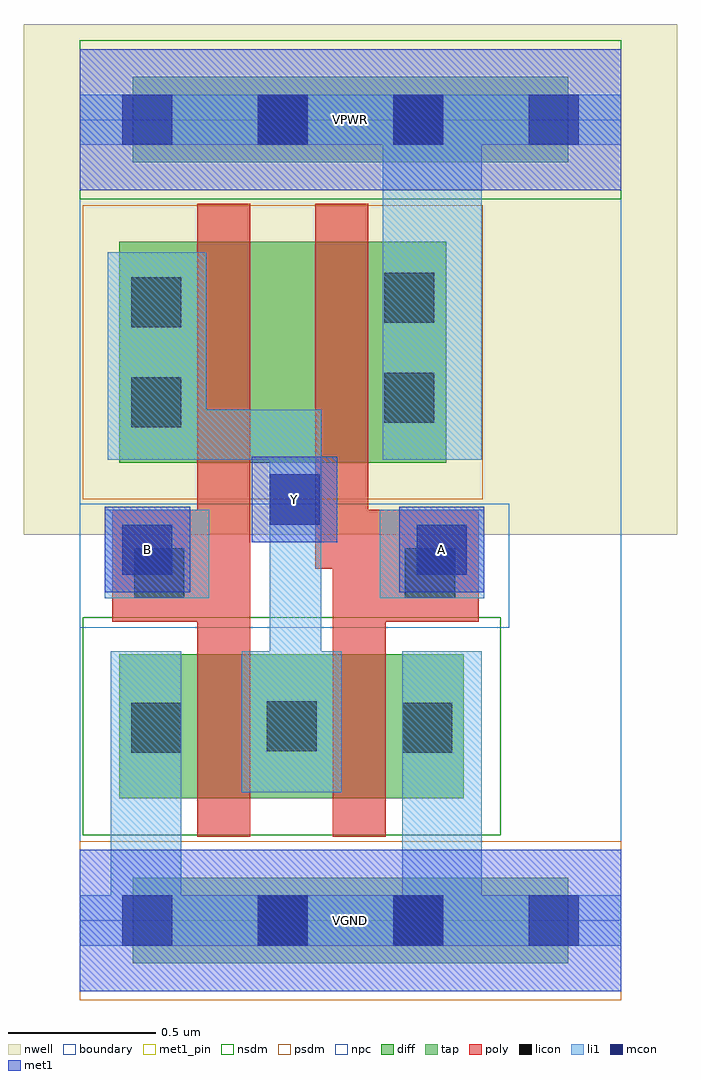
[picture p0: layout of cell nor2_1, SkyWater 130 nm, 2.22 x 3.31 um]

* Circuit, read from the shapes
.subckt nor2_1 A B VGND VPWR Y
XM1 Y B VGND VGND sky130_fd_pr__nfet_01v8 w=0.49 l=0.18
XM2 VGND A Y VGND sky130_fd_pr__nfet_01v8 w=0.49 l=0.18
XM3 n1 B Y VPWR sky130_fd_pr__pfet_01v8 w=0.75 l=0.18
XM4 VPWR A n1 VPWR sky130_fd_pr__pfet_01v8 w=0.75 l=0.18
.ends

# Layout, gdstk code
import gdstk
lib = gdstk.Library(unit=1e-6, precision=1e-09)
def R(c, l, rs):  # rectangles x0, y0, x1, y1
    for r in rs: c.add(gdstk.rectangle(r[:2], r[2:], *l))
def A(c, l, x, y, w, h, nx, ny, dx, dy):  # array of equal rectangles
    R(c, l, [(x+i*dx, y+j*dy, x+i*dx+w, y+j*dy+h) for i in range(nx) for j in range(ny)])
nwell = (64, 20)
diff = (65, 20)
tap = (65, 44)
poly = (66, 20)
licon = (66, 44)
li1 = (67, 20)
mcon = (67, 44)
met1_pin = (68, 16)
met1 = (68, 20)
nsdm = (93, 44)
psdm = (94, 20)
npc = (95, 20)
boundary = (235, 4)

nor2_1 = lib.new_cell('nor2_1')
R(nor2_1, nwell, [(-0.19,1.31,2.03,3.045), (0,1.31,1.84,3.045)])
R(nor2_1, diff, [(0.135,0.415,1.305,0.905), (0.135,1.555,1.245,2.305)])
R(nor2_1, tap, [(0.18,-0.145,1.66,0.145), (0.18,2.575,1.66,2.865)])
R(nor2_1, poly, [(0.4,0.285,0.58,2.435), (0.86,0.285,1.04,1.395), (0.11,1.015,0.58,1.395), (0.86,1.015,1.355,1.395), (0.8,1.195,0.98,2.435)])
R(nor2_1, licon, [(0.605,-0.085,0.775,0.085), (1.065,-0.085,1.235,0.085), (0.175,0.57,0.345,0.74), (1.095,0.57,1.265,0.74), (0.635,0.575,0.805,0.745), (0.185,1.095,0.355,1.265), (1.105,1.095,1.275,1.265), (0.175,1.675,0.345,1.845), (1.035,1.69,1.205,1.86), (0.175,2.015,0.345,2.185), (1.035,2.03,1.205,2.2), (0.605,2.635,0.775,2.805), (1.065,2.635,1.235,2.805)])
R(nor2_1, li1, [(0,-0.085,1.84,0.085), (0.105,-0.085,0.345,0.915), (1.095,-0.085,1.365,0.915), (0.55,0.435,0.89,0.915), (0.645,0.435,0.82,1.735), (0.085,1.095,0.44,1.395), (1.02,1.095,1.375,1.395), (0.095,1.565,0.43,2.27), (0.095,1.565,0.82,1.735), (1.03,1.565,1.365,2.805), (0,2.635,1.84,2.805)])
A(nor2_1, mcon, 0.145, -0.085, 0.17, 0.17, 4, 2, 0.46, 2.72)
R(nor2_1, mcon, [(0.145,1.175,0.315,1.345), (1.145,1.175,1.315,1.345), (0.645,1.345,0.815,1.515)])
R(nor2_1, met1_pin, [(0,-0.24,1.84,0.24), (0.085,1.115,0.375,1.405), (1.085,1.115,1.375,1.405), (0.585,1.285,0.875,1.575), (0,2.48,1.84,2.96)])
R(nor2_1, met1, [(0,-0.24,1.84,0.24), (0.085,1.115,0.375,1.405), (1.085,1.115,1.375,1.405), (0.585,1.285,0.875,1.575), (0,2.48,1.84,2.96)])
R(nor2_1, nsdm, [(0.01,0.29,1.43,1.03), (0,2.45,1.84,2.99)])
R(nor2_1, psdm, [(0,-0.27,1.84,0.27), (0.01,1.43,1.37,2.43)])
R(nor2_1, npc, [(0,0.995,1.46,1.415)])
R(nor2_1, boundary, [(0,0,1.84,2.72)])
nor2_1.add(gdstk.Label('A', (1.23,1.26), layer=68, texttype=5))
nor2_1.add(gdstk.Label('B', (0.23,1.26), layer=68, texttype=5))
nor2_1.add(gdstk.Label('Y', (0.73,1.43), layer=68, texttype=5))
nor2_1.add(gdstk.Label('VPWR', (0.92,2.72), layer=68, texttype=5))
nor2_1.add(gdstk.Label('VGND', (0.92,0), layer=68, texttype=5))
nor2_1.add(gdstk.Label('A', (1.23,1.26), layer=68, texttype=16))
nor2_1.add(gdstk.Label('B', (0.23,1.26), layer=68, texttype=16))
nor2_1.add(gdstk.Label('Y', (0.73,1.43), layer=68, texttype=16))
nor2_1.add(gdstk.Label('VPWR', (0.92,2.72), layer=68, texttype=16))
nor2_1.add(gdstk.Label('VGND', (0.92,0), layer=68, texttype=16))

lib.write_gds('nor2_1.gds')
